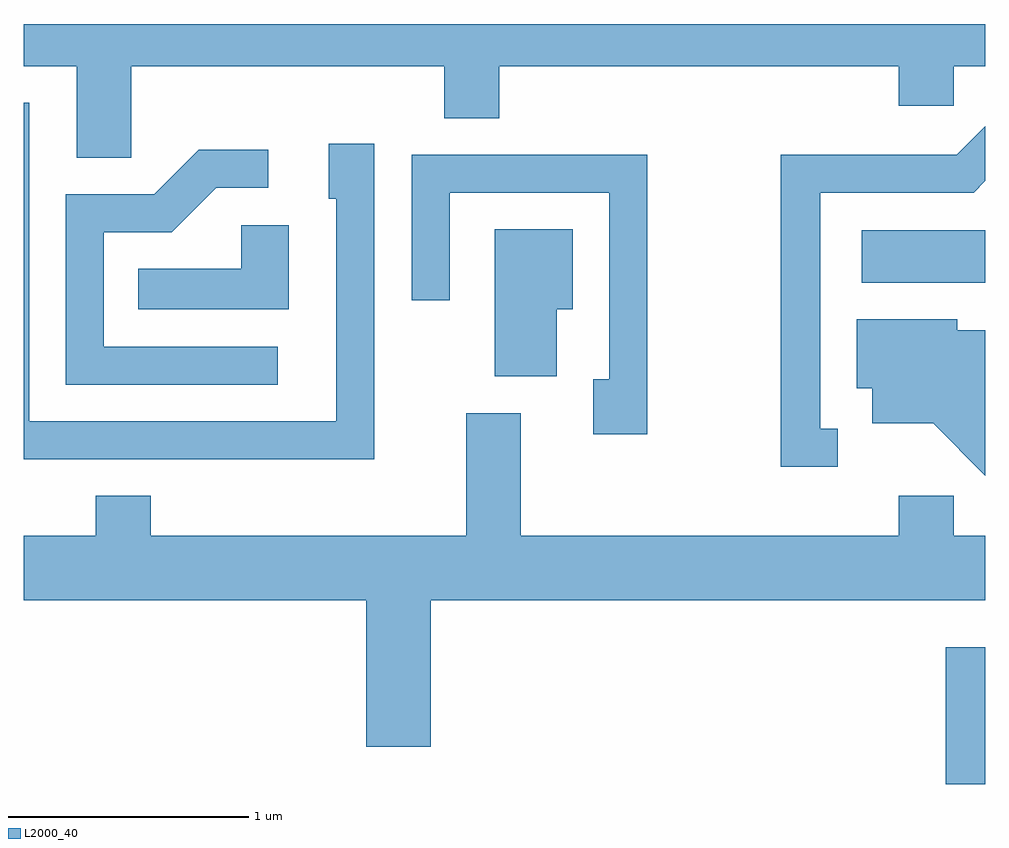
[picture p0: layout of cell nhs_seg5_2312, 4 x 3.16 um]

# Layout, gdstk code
import gdstk
lib = gdstk.Library(unit=1e-6, precision=1e-09)
def R(c, l, rs):  # rectangles x0, y0, x1, y1
    for r in rs: c.add(gdstk.rectangle(r[:2], r[2:], *l))
def P(c, l, *ps):  # polygons
    for p in ps: c.add(gdstk.Polygon(p, *l))
L2000_40 = (2000, 40)

nhs_seg5_2312 = lib.new_cell('nhs_seg5_2312')
R(nhs_seg5_2312, L2000_40, [(257.446,1464.911,257.611,1465.479), (257.096,1466.996,257.611,1467.214)])
P(nhs_seg5_2312, L2000_40, [(254.059,1467.896),(255.361,1467.896),(255.361,1467.681),(255.589,1467.681),(255.589,1467.896),(257.251,1467.896),(257.251,1467.731),(257.479,1467.731),(257.479,1467.896),(257.611,1467.896),(257.611,1468.072),(253.611,1468.072),(253.611,1467.896),(253.831,1467.896),(253.831,1467.516),(254.059,1467.516)],
  [(255.069,1467.574),(254.881,1467.574),(254.881,1467.346),(254.911,1467.346),(254.911,1466.419),(253.634,1466.419),(253.634,1467.744),(253.611,1467.744),(253.611,1466.261),(255.069,1466.261)],
  [(256.998,1466.389),(256.924,1466.389),(256.924,1467.371),(257.562,1467.371),(257.611,1467.42),(257.611,1467.646),(257.493,1467.529),(256.761,1467.529),(256.761,1466.231),(256.998,1466.231)],
  [(254.668,1466.729),(253.944,1466.729),(253.944,1467.206),(254.227,1467.206),(254.412,1467.391),(254.628,1467.391),(254.628,1467.549),(254.339,1467.549),(254.154,1467.364),(253.786,1467.364),(253.786,1466.571),(254.668,1466.571)],
  [(256.204,1467.529),(255.226,1467.529),(255.226,1466.923),(255.384,1466.923),(255.384,1467.371),(256.046,1467.371),(256.046,1466.594),(255.981,1466.594),(255.981,1466.366),(256.204,1466.366)],
  [(254.714,1467.234),(254.516,1467.234),(254.516,1467.054),(254.088,1467.054),(254.088,1466.886),(254.714,1466.886)],
  [(255.829,1466.886),(255.894,1466.886),(255.894,1467.219),(255.571,1467.219),(255.571,1466.606),(255.829,1466.606)],
  [(257.611,1466.799),(257.494,1466.799),(257.494,1466.844),(257.076,1466.844),(257.076,1466.556),(257.141,1466.556),(257.141,1466.411),(257.394,1466.411),(257.611,1466.194)],
  [(255.304,1465.676),(257.611,1465.676),(257.611,1465.944),(257.479,1465.944),(257.479,1466.109),(257.251,1466.109),(257.251,1465.944),(255.679,1465.944),(255.679,1466.454),(255.451,1466.454),(255.451,1465.944),(254.139,1465.944),(254.139,1466.109),(253.911,1466.109),(253.911,1465.944),(253.611,1465.944),(253.611,1465.676),(255.036,1465.676),(255.036,1465.066),(255.304,1465.066)])

lib.write_gds('nhs_seg5_2312.gds')
